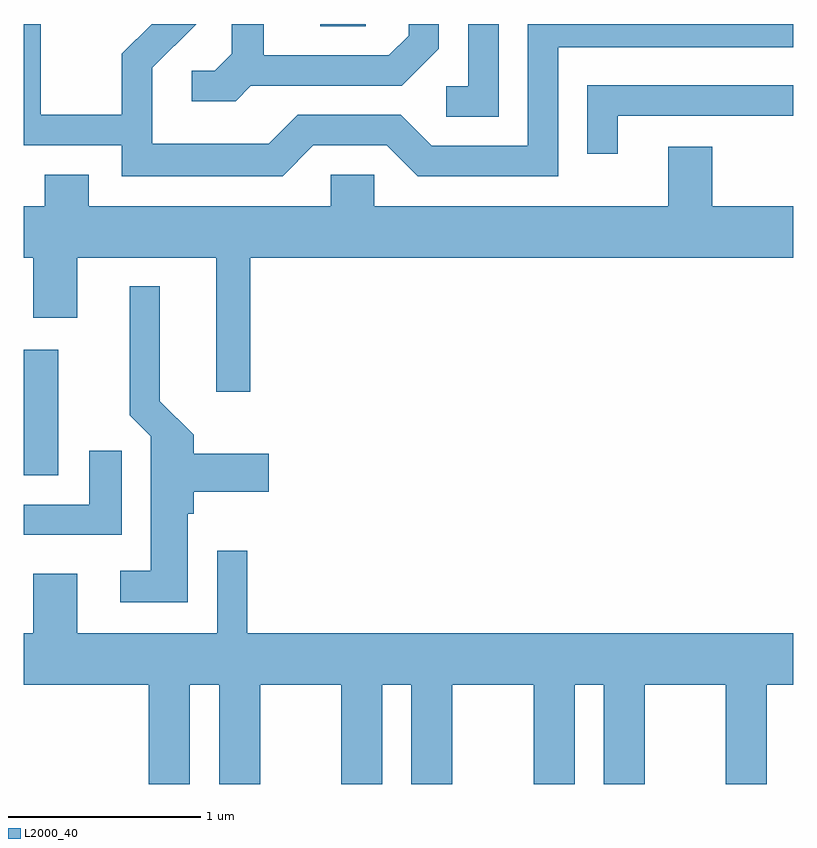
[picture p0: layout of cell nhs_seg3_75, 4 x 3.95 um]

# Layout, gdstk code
import gdstk
lib = gdstk.Library(unit=1e-6, precision=1e-09)
def R(c, l, rs):  # rectangles x0, y0, x1, y1
    for r in rs: c.add(gdstk.rectangle(r[:2], r[2:], *l))
def P(c, l, *ps):  # polygons
    for p in ps: c.add(gdstk.Polygon(p, *l))
L2000_40 = (2000, 40)

nhs_seg3_75 = lib.new_cell('nhs_seg3_75')
R(nhs_seg3_75, L2000_40, [(187.611,1131.546,187.789,1132.199), (189.151,1133.881,189.389,1133.892)])
P(nhs_seg3_75, L2000_40, [(189.117,1133.261),(189.499,1133.261),(189.659,1133.101),(190.389,1133.101),(190.389,1133.771),(191.611,1133.771),(191.611,1133.892),(190.231,1133.892),(190.231,1133.259),(189.732,1133.259),(189.572,1133.419),(189.034,1133.419),(188.884,1133.269),(188.279,1133.269),(188.279,1133.664),(188.507,1133.892),(188.276,1133.892),(188.121,1133.737),(188.121,1133.419),(187.699,1133.419),(187.699,1133.892),(187.611,1133.892),(187.611,1133.261),(188.121,1133.261),(188.121,1133.101),(188.957,1133.101)],
  [(190.079,1133.892),(189.921,1133.892),(189.921,1133.569),(189.808,1133.569),(189.808,1133.411),(190.079,1133.411)],
  [(188.792,1133.571),(189.577,1133.571),(189.769,1133.764),(189.769,1133.892),(189.611,1133.892),(189.611,1133.832),(189.509,1133.729),(188.859,1133.729),(188.859,1133.892),(188.691,1133.892),(188.691,1133.737),(188.604,1133.649),(188.483,1133.649),(188.483,1133.491),(188.712,1133.491)],
  [(190.699,1133.416),(191.611,1133.416),(191.611,1133.574),(190.541,1133.574),(190.541,1133.218),(190.699,1133.218)],
  [(188.789,1132.676),(191.611,1132.676),(191.611,1132.944),(191.189,1132.944),(191.189,1133.254),(190.961,1133.254),(190.961,1132.944),(189.434,1132.944),(189.434,1133.109),(189.206,1133.109),(189.206,1132.944),(187.949,1132.944),(187.949,1133.109),(187.721,1133.109),(187.721,1132.944),(187.611,1132.944),(187.611,1132.676),(187.661,1132.676),(187.661,1132.366),(187.889,1132.366),(187.889,1132.676),(188.611,1132.676),(188.611,1131.981),(188.789,1131.981)],
  [(188.464,1131.346),(188.494,1131.346),(188.494,1131.461),(188.884,1131.461),(188.884,1131.659),(188.494,1131.659),(188.494,1131.757),(188.319,1131.932),(188.319,1132.528),(188.161,1132.528),(188.161,1131.859),(188.271,1131.749),(188.271,1131.049),(188.113,1131.049),(188.113,1130.886),(188.464,1130.886)],
  [(188.119,1131.673),(187.951,1131.673),(187.951,1131.394),(187.611,1131.394),(187.611,1131.236),(188.119,1131.236)],
  [(188.474,1130.456),(188.626,1130.456),(188.626,1129.941),(188.839,1129.941),(188.839,1130.456),(189.261,1130.456),(189.261,1129.941),(189.474,1129.941),(189.474,1130.456),(189.626,1130.456),(189.626,1129.941),(189.839,1129.941),(189.839,1130.456),(190.261,1130.456),(190.261,1129.941),(190.474,1129.941),(190.474,1130.456),(190.626,1130.456),(190.626,1129.941),(190.839,1129.941),(190.839,1130.456),(191.261,1130.456),(191.261,1129.941),(191.474,1129.941),(191.474,1130.456),(191.611,1130.456),(191.611,1130.724),(188.774,1130.724),(188.774,1131.153),(188.616,1131.153),(188.616,1130.724),(187.889,1130.724),(187.889,1131.034),(187.661,1131.034),(187.661,1130.724),(187.611,1130.724),(187.611,1130.456),(188.261,1130.456),(188.261,1129.941),(188.474,1129.941)])

lib.write_gds('nhs_seg3_75.gds')
